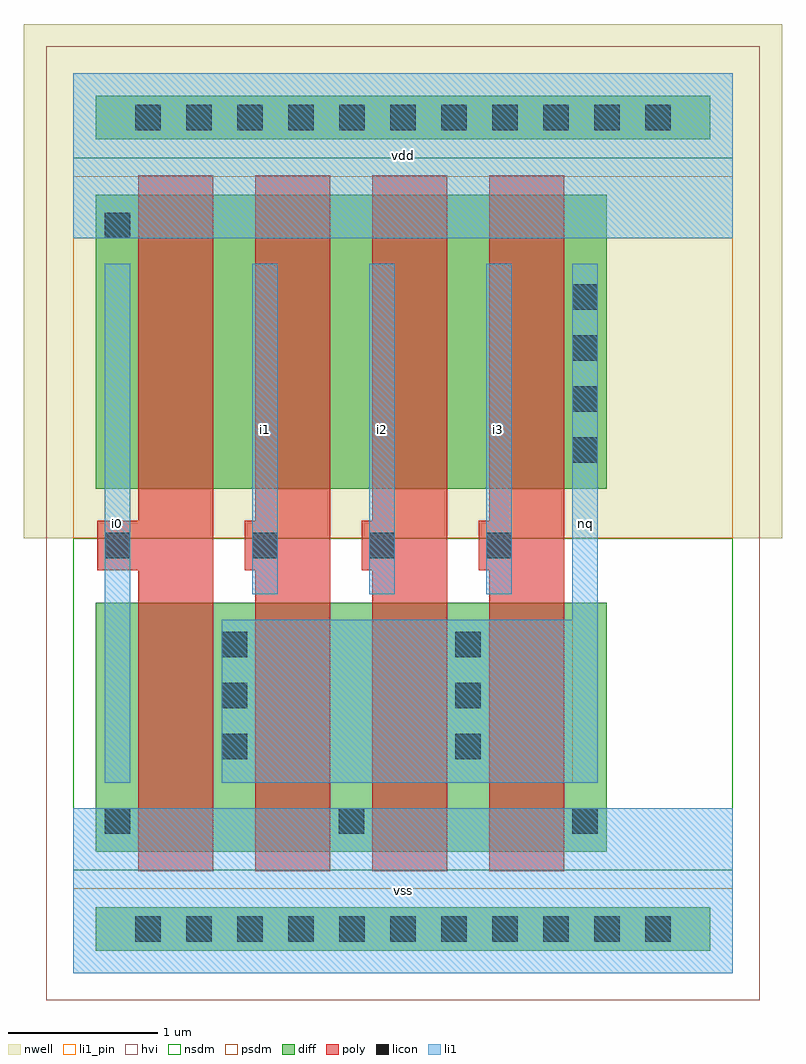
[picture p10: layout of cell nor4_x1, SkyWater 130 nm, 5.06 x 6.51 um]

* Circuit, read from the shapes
.subckt nor4_x1 i0 i1 i2 i3 nq vdd vss
XM1 nq i0 vss VSUBS sky130_fd_pr__nfet_g5v0d10v5 w=1.66 l=0.5
XM2 vss i1 nq VSUBS sky130_fd_pr__nfet_g5v0d10v5 w=1.66 l=0.5
XM3 nq i2 vss VSUBS sky130_fd_pr__nfet_g5v0d10v5 w=1.66 l=0.5
XM4 vss i3 nq VSUBS sky130_fd_pr__nfet_g5v0d10v5 w=1.66 l=0.5
XM5 n1 i0 vdd n2 sky130_fd_pr__pfet_g5v0d10v5 w=1.96 l=0.5
XM6 n3 i1 n1 n2 sky130_fd_pr__pfet_g5v0d10v5 w=1.96 l=0.5
XM7 n4 i2 n3 n2 sky130_fd_pr__pfet_g5v0d10v5 w=1.96 l=0.5
XM8 nq i3 n4 n2 sky130_fd_pr__pfet_g5v0d10v5 w=1.96 l=0.5
.ends

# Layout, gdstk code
import gdstk
lib = gdstk.Library(unit=1e-6, precision=1e-09)
def R(c, l, rs):  # rectangles x0, y0, x1, y1
    for r in rs: c.add(gdstk.rectangle(r[:2], r[2:], *l))
def A(c, l, x, y, w, h, nx, ny, dx, dy):  # array of equal rectangles
    R(c, l, [(x+i*dx, y+j*dy, x+i*dx+w, y+j*dy+h) for i in range(nx) for j in range(ny)])
def P(c, l, *ps):  # polygons
    for p in ps: c.add(gdstk.Polygon(p, *l))
nwell = (64, 20)
diff = (65, 20)
poly = (66, 20)
licon = (66, 44)
li1_pin = (67, 16)
li1 = (67, 20)
hvi = (75, 20)
nsdm = (93, 44)
psdm = (94, 20)

nor4_x1 = lib.new_cell('nor4_x1')
R(nor4_x1, nwell, [(-0.33,2.9,4.73,6.33)])
R(nor4_x1, diff, [(0.15,0.15,4.25,0.44), (0.15,0.81,3.56,2.47), (0.15,3.23,3.56,5.19), (0.15,5.56,4.25,5.85)])
P(nor4_x1, poly, [(0.435,0.68),(0.435,2.685),(0.16,2.685),(0.16,3.015),(0.435,3.015),(0.435,5.32),(0.935,5.32),(0.935,0.68)],
  [(1.215,0.68),(1.215,2.685),(1.145,2.685),(1.145,3.015),(1.215,3.015),(1.215,5.32),(1.715,5.32),(1.715,0.68)],
  [(1.995,0.68),(1.995,2.685),(1.925,2.685),(1.925,3.015),(1.995,3.015),(1.995,5.32),(2.495,5.32),(2.495,0.68)],
  [(2.775,0.68),(2.775,2.685),(2.705,2.685),(2.705,3.015),(2.775,3.015),(2.775,5.32),(3.275,5.32),(3.275,0.68)])
A(nor4_x1, licon, 0.415, 0.21, 0.17, 0.17, 11, 2, 0.34, 5.41)
A(nor4_x1, licon, 0.21, 0.93, 0.17, 0.17, 3, 1, 1.56, 0)
A(nor4_x1, licon, 0.99, 1.425, 0.17, 0.17, 1, 3, 0, 0.34)
A(nor4_x1, licon, 2.55, 1.425, 0.17, 0.17, 1, 3, 0, 0.34)
A(nor4_x1, licon, 1.195, 2.765, 0.17, 0.17, 3, 1, 0.78, 0)
A(nor4_x1, licon, 3.33, 3.405, 0.17, 0.17, 1, 4, 0, 0.34)
R(nor4_x1, licon, [(0.21,2.765,0.38,2.935), (0.21,4.9,0.38,5.07)])
A(nor4_x1, li1_pin, 1.195, 2.525, 0.17, 2.205, 3, 1, 0.78, 0)
R(nor4_x1, li1_pin, [(0,0,4.4,1.1), (0.21,1.27,0.38,4.73), (3.33,1.27,3.5,4.73), (0,4.9,4.4,6)])
A(nor4_x1, li1, 1.195, 2.525, 0.17, 2.205, 3, 1, 0.78, 0)
R(nor4_x1, li1, [(0,0,4.4,1.1), (0.21,1.27,0.38,4.73), (0,4.9,4.4,6)])
P(nor4_x1, li1, [(0.99,1.27),(0.99,2.355),(3.33,2.355),(3.33,4.73),(3.5,4.73),(3.5,1.27)])
R(nor4_x1, hvi, [(-0.18,-0.18,4.58,6.18)])
R(nor4_x1, nsdm, [(0,0.685,4.4,2.9), (0,5.435,4.4,6)])
R(nor4_x1, psdm, [(0,0,4.4,0.565), (0,2.9,4.4,5.315)])
nor4_x1.add(gdstk.Label('vss', (2.2,0.55), layer=67, texttype=16))
nor4_x1.add(gdstk.Label('vdd', (2.2,5.45), layer=67, texttype=16))
nor4_x1.add(gdstk.Label('nq', (3.415,3), layer=67, texttype=16))
nor4_x1.add(gdstk.Label('i0', (0.295,3), layer=67, texttype=16))
nor4_x1.add(gdstk.Label('i1', (1.28,3.628), layer=67, texttype=16))
nor4_x1.add(gdstk.Label('i2', (2.06,3.628), layer=67, texttype=16))
nor4_x1.add(gdstk.Label('i3', (2.84,3.628), layer=67, texttype=16))

lib.write_gds('nor4_x1.gds')
